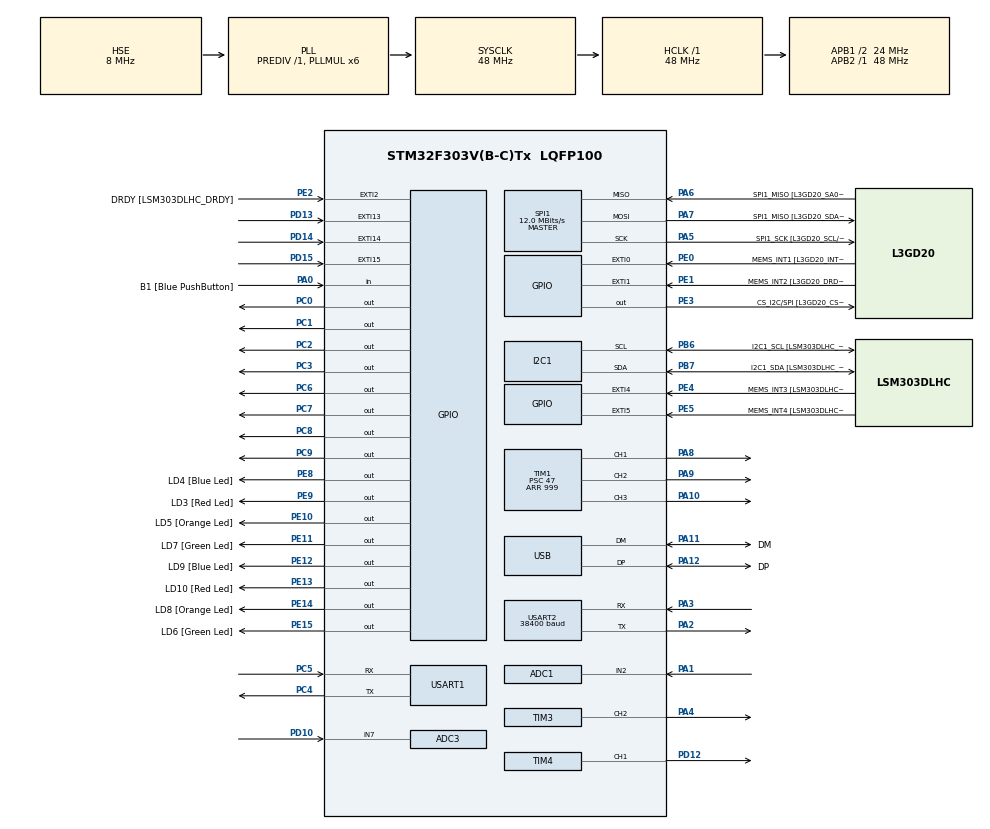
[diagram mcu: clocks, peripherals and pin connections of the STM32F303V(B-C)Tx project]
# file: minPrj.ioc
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ADC1.Channel-1\#ChannelRegularConversion=ADC_CHANNEL_2
ADC1.NbrOfConversionFlag=1
ADC1.Offset-1\#ChannelRegularConversion=0
ADC1.OffsetNumber-1\#ChannelRegularConversion=ADC_OFFSET_NONE
ADC1.Rank-1\#ChannelRegularConversion=1
ADC1.Resolution=ADC_RESOLUTION_6B
ADC1.SamplingTime-1\#ChannelRegularConversion=ADC_SAMPLETIME_1CYCLE_5
ADC1.SamplingTimeOPAMP-1\#ChannelRegularConversion=ADC_SAMPLETIME_19CYCLES_5
ADC1.master=1
ADC3.Channel-1\#ChannelRegularConversion=ADC_CHANNEL_7
ADC3.NbrOfConversionFlag=1
ADC3.Offset-1\#ChannelRegularConversion=0
ADC3.OffsetNumber-1\#ChannelRegularConversion=ADC_OFFSET_NONE
ADC3.Rank-1\#ChannelRegularConversion=1
ADC3.Resolution=ADC_RESOLUTION_10B
ADC3.SamplingTime-1\#ChannelRegularConversion=ADC_SAMPLETIME_1CYCLE_5
ADC3.SamplingTimeOPAMP-1\#ChannelRegularConversion=ADC_SAMPLETIME_19CYCLES_5
ADC3.master=1
I2C1.Timing-I2C=0x2000090E
Mcu.Family=STM32F3
Mcu.Name=STM32F303V(B-C)Tx
Mcu.Package=LQFP100
NVIC.ADC1_2_IRQn=true\:1\:0\:true\:false\:true\:true\:true\:true
NVIC.ADC3_IRQn=true\:1\:0\:true\:false\:true\:true\:true\:true
NVIC.EXTI15_10_IRQn=true\:0\:0\:false\:false\:true\:true\:true\:true
NVIC.PriorityGroup=NVIC_PRIORITYGROUP_1
NVIC.TIM2_IRQn=true\:0\:0\:false\:false\:true\:true\:true\:true
NVIC.TIM3_IRQn=true\:0\:0\:false\:false\:true\:true\:true\:true
NVIC.TIM4_IRQn=true\:0\:0\:false\:false\:true\:true\:true\:true
NVIC.USART1_IRQn=true\:0\:0\:false\:false\:true\:true\:true\:true
NVIC.USART2_IRQn=true\:0\:0\:false\:false\:true\:true\:true\:true
PA0.GPIO_Label=B1 [Blue PushButton]
PA0.Signal=GPIO_Input
PA1.Mode=IN2-Single-Ended
PA1.Signal=ADC1_IN2
PA10.Signal=S_TIM1_CH3
PA11.GPIO_Label=DM
PA11.Mode=Device
PA11.Signal=USB_DM
PA12.GPIO_Label=DP
PA12.Mode=Device
PA12.Signal=USB_DP
PA13.GPIO_Label=SWDIO
PA13.Mode=Serial_Wire
PA13.Signal=SYS_JTMS-SWDIO
PA14.GPIO_Label=SWCLK
PA14.Mode=Serial_Wire
PA14.Signal=SYS_JTCK-SWCLK
PA2.Mode=Asynchronous
PA2.Signal=USART2_TX
PA3.Mode=Asynchronous
PA3.Signal=USART2_RX
PA4.Signal=S_TIM3_CH2
PA5.GPIO_Label=SPI1_SCK [L3GD20_SCL/SPC]
PA5.Mode=Full_Duplex_Master
PA5.Signal=SPI1_SCK
PA6.GPIO_Label=SPI1_MISO [L3GD20_SA0/SDO]
PA6.Mode=Full_Duplex_Master
PA6.Signal=SPI1_MISO
PA7.GPIO_Label=SPI1_MISO [L3GD20_SDA/SDI/SDO]
PA7.Mode=Full_Duplex_Master
PA7.Signal=SPI1_MOSI
PA8.Signal=S_TIM1_CH1
PA9.Signal=S_TIM1_CH2
PB3.GPIO_Label=SWO
PB3.Signal=SYS_JTDO-TRACESWO
PB6.GPIO_Label=I2C1_SCL [LSM303DLHC_SCL]
PB6.GPIO_Pu=GPIO_PULLUP
PB6.Mode=I2C
PB6.Signal=I2C1_SCL
PB7.GPIO_Label=I2C1_SDA [LSM303DLHC_SDA]
PB7.GPIO_Pu=GPIO_PULLUP
PB7.Mode=I2C
PB7.Signal=I2C1_SDA
PC0.Signal=GPIO_Output
PC1.Signal=GPIO_Output
PC14-OSC32_IN.GPIO_Label=OSC32_IN
PC14-OSC32_IN.Signal=RCC_OSC32_IN
PC15-OSC32_OUT.GPIO_Label=OSC32_OUT
PC15-OSC32_OUT.Signal=RCC_OSC32_OUT
PC2.Signal=GPIO_Output
PC3.Signal=GPIO_Output
PC4.Mode=Asynchronous
PC4.Signal=USART1_TX
PC5.Mode=Asynchronous
PC5.Signal=USART1_RX
PC6.Signal=GPIO_Output
PC7.Signal=GPIO_Output
PC8.Signal=GPIO_Output
PC9.Signal=GPIO_Output
PD10.Signal=ADCx_IN7P
PD12.Signal=S_TIM4_CH1
PD13.GPIO_ModeDefaultEXTI=GPIO_MODE_IT_FALLING
PD13.GPIO_PuPd=GPIO_PULLUP
PD13.Signal=GPXTI13
PD14.GPIO_ModeDefaultEXTI=GPIO_MODE_IT_FALLING
PD14.GPIO_PuPd=GPIO_PULLUP
PD14.Signal=GPXTI14
PD15.GPIO_ModeDefaultEXTI=GPIO_MODE_IT_FALLING
PD15.GPIO_PuPd=GPIO_PULLUP
PD15.Signal=GPXTI15
PE0.GPIO_Label=MEMS_INT1 [L3GD20_INT1]
PE0.GPIO_ModeDefaultEXTI=GPIO_MODE_EVT_RISING
PE0.Signal=GPXTI0
PE1.GPIO_Label=MEMS_INT2 [L3GD20_DRDY/INT2]
PE1.GPIO_ModeDefaultEXTI=GPIO_MODE_EVT_RISING
PE1.Signal=GPXTI1
PE10.GPIO_Label=LD5 [Orange Led]
PE10.Signal=GPIO_Output
PE11.GPIO_Label=LD7 [Green Led]
PE11.Signal=GPIO_Output
PE12.GPIO_Label=LD9 [Blue Led]
PE12.Signal=GPIO_Output
PE13.GPIO_Label=LD10 [Red Led]
PE13.Signal=GPIO_Output
PE14.GPIO_Label=LD8 [Orange Led]
PE14.Signal=GPIO_Output
PE15.GPIO_Label=LD6 [Green Led]
PE15.Signal=GPIO_Output
PE2.GPIO_Label=DRDY [LSM303DLHC_DRDY]
PE2.GPIO_ModeDefaultEXTI=GPIO_MODE_EVT_RISING
PE2.Signal=GPXTI2
PE3.GPIO_Label=CS_I2C/SPI [L3GD20_CS_I2C/SPI]
PE3.Signal=GPIO_Output
PE4.GPIO_Label=MEMS_INT3 [LSM303DLHC_INT1]
PE4.GPIO_ModeDefaultEXTI=GPIO_MODE_EVT_RISING
PE4.Signal=GPXTI4
PE5.GPIO_Label=MEMS_INT4 [LSM303DLHC_INT2]
PE5.GPIO_ModeDefaultEXTI=GPIO_MODE_EVT_RISING
PE5.Signal=GPXTI5
PE8.GPIO_Label=LD4 [Blue Led]
PE8.Signal=GPIO_Output
PE9.GPIO_Label=LD3 [Red Led]
PE9.Signal=GPIO_Output
PF0-OSC_IN.GPIO_Label=OSC_IN
PF0-OSC_IN.Mode=HSE-External-Clock-Source
PF0-OSC_IN.Signal=RCC_OSC_IN
PF1-OSC_OUT.GPIO_Label=OSC_OUT
PF1-OSC_OUT.Signal=RCC_OSC_OUT
ProjectManager.HeapSize=0x200
ProjectManager.StackSize=0x400
ProjectManager.TargetToolchain=STM32CubeIDE
RCC.AHBFreq_Value=48000000
RCC.APB1CLKDivider=RCC_HCLK_DIV2
RCC.APB1Freq_Value=24000000
RCC.APB1TimFreq_Value=48000000
RCC.APB2Freq_Value=48000000
RCC.APB2TimFreq_Value=48000000
RCC.CortexFreq_Value=48000000
RCC.HCLKFreq_Value=48000000
RCC.HSE_VALUE=8000000
RCC.HSI_VALUE=8000000
RCC.LSE_VALUE=32768
RCC.PLLMUL=RCC_PLL_MUL6
RCC.SYSCLKFreq_VALUE=48000000
RCC.SYSCLKSourceVirtual=RCC_SYSCLKSOURCE_PLLCLK
RCC.USBFreq_Value=48000000
RTC.AsynchPrediv=39
RTC.Format=RTC_FORMAT_BIN
RTC.SynchPrediv=999
SH.ADCx_IN7P.0=ADC3_IN7,IN7-Single-Ended
SH.S_TIM1_CH1.0=TIM1_CH1,PWM Generation1 CH1
SH.S_TIM1_CH2.0=TIM1_CH2,PWM Generation2 CH2
SH.S_TIM1_CH3.0=TIM1_CH3,PWM Generation3 CH3
SH.S_TIM3_CH2.0=TIM3_CH2,PWM Generation2 CH2
SH.S_TIM4_CH1.0=TIM4_CH1,PWM Generation1 CH1
SPI1.BaudRatePrescaler=SPI_BAUDRATEPRESCALER_4
SPI1.BaudRatePrescaler-Full_Duplex_Master=SPI_BAUDRATEPRESCALER_2
SPI1.CalculateBaudRate=12.0 MBits/s
SPI1.CalculateBaudRate-Full_Duplex_Master=24.0 MBits/s
SPI1.Direction=SPI_DIRECTION_2LINES
SPI1.Mode=SPI_MODE_MASTER
SPI1.Mode-Full_Duplex_Master=SPI_MODE_MASTER
SPI1.VirtualType=VM_MASTER
TIM1.Channel-PWM\ Generation1\ CH1=TIM_CHANNEL_1
TIM1.Channel-PWM\ Generation2\ CH2=TIM_CHANNEL_2
TIM1.Channel-PWM\ Generation3\ CH3=TIM_CHANNEL_3
TIM1.Period=999
TIM1.Prescaler=47
TIM2.Period=10000-1
TIM2.Prescaler=2400-1
TIM3.Channel-PWM\ Generation2\ CH2=TIM_CHANNEL_2
TIM4.Channel-PWM\ Generation1\ CH1=TIM_CHANNEL_1
TIM4.Period=999
TIM4.Prescaler=47
USART1.VirtualMode-Asynchronous=VM_ASYNC
USART2.BaudRate=38400
USART2.VirtualMode-Asynchronous=VM_ASYNC
VP_RTC_VS_RTC_Activate.Mode=RTC_Enabled
VP_RTC_VS_RTC_Calendar.Mode=RTC_Calendar
VP_TIM1_VS_ClockSourceINT.Mode=Internal
VP_TIM2_VS_ClockSourceINT.Mode=Internal
VP_TIM3_VS_ClockSourceINT.Mode=Internal
VP_TIM4_VS_ClockSourceINT.Mode=Internal
board=STM32F3DISCOVERY

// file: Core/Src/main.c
/* USER CODE BEGIN Header */
/**
 ******************************************************************************
 * @file           : main.c
 * @brief          : Main program body
 ******************************************************************************
 * @attention
 *
 * Copyright (c) 2023 STMicroelectronics.
 * All rights reserved.
 *
 * This software is licensed under terms that can be found in the LICENSE file
 * in the root directory of this software component.
 * If no LICENSE file comes with this software, it is provided AS-IS.
 *
 ******************************************************************************
 */
/* USER CODE END Header */
#include "main.h"

/* USER CODE BEGIN Includes */

int Debuns = 0;
int select = 0;
int sin_index = 0;
int ten_mili_second = 0;
int flag = 0;
int threshold = 0;
int buffer_index = 0;
int base_sense = 0, current_sense = 0;
int warncount = 0, uart_flag = 1, is_critical = 0, counter = 0, time_flag = 1;
uint8_t dim, light, buzzer, input[15], rx_byte;
char timeFormat[8];
char second[2] = { '0', '0' };
char minute[2] = { '0', '0' };
char hours[2] = { '0', '0' };
int ss = 0, mm = 0, hh = 0;

static const uint16_t sine_table[50] = { 200, 214, 225, 234, 240, 242, 242, 240,
		234, 225, 214, 200, 184, 173, 164, 158, 156, 156, 158, 164, 173, 184,
		200, 216, 227, 236, 241, 242, 242, 241, 236, 227, 216, 200, 185, 174,
		165, 159, 157, 157, 159, 165, 174, 185, 200, 215, 226, 235, 240, 242,
		242 };

static const uint16_t square[4] = { 400, 400, 0, 0 };

static const uint16_t triangle[11] = { 0, 50, 100, 150, 200, 250, 300, 350, 400,
		0, 0 };
typedef struct {
	GPIO_TypeDef *port;
	uint16_t pin;
} pin_type;

typedef struct {
	pin_type digit_activators[4];
	pin_type BCD_input[4];
	uint32_t digits[4];
	uint32_t number;
} seven_segment_type;

seven_segment_type seven_segment = { .digit_activators = { { .port = GPIOC,
		.pin = GPIO_PIN_3 }, { .port = GPIOC, .pin = GPIO_PIN_2 }, { .port =
GPIOC, .pin = GPIO_PIN_1 }, { .port = GPIOC, .pin = GPIO_PIN_0 } }, .BCD_input =
		{ { .port = GPIOC, .pin = GPIO_PIN_6 }, { .port = GPIOC, .pin =
		GPIO_PIN_7 }, { .port = GPIOC, .pin = GPIO_PIN_8 }, { .port =
		GPIOC, .pin = GPIO_PIN_9 } }, .digits = { 0, 0, 0, 0 }, .number = 0 };

void seven_segment_display_decimal(uint32_t n) {
	if (n < 10) {
		HAL_GPIO_WritePin(seven_segment.BCD_input[0].port,
				seven_segment.BCD_input[0].pin,
				(n & 1) ? GPIO_PIN_SET : GPIO_PIN_RESET);
		HAL_GPIO_WritePin(seven_segment.BCD_input[1].port,
				seven_segment.BCD_input[1].pin,
				(n & 2) ? GPIO_PIN_SET : GPIO_PIN_RESET);
		HAL_GPIO_WritePin(seven_segment.BCD_input[2].port,
				seven_segment.BCD_input[2].pin,
				(n & 4) ? GPIO_PIN_SET : GPIO_PIN_RESET);
		HAL_GPIO_WritePin(seven_segment.BCD_input[3].port,
				seven_segment.BCD_input[3].pin,
				(n & 8) ? GPIO_PIN_SET : GPIO_PIN_RESET);
	}
}

void seven_segment_deactivate_digits(void) {
	for (int i = 0; i < 4; ++i) {
		HAL_GPIO_WritePin(seven_segment.digit_activators[i].port,
				seven_segment.digit_activators[i].pin, GPIO_PIN_RESET);
	}
}

void seven_segment_activate_digit(uint32_t d) {
	if (d < 4) {
		HAL_GPIO_WritePin(seven_segment.digit_activators[d].port,
				seven_segment.digit_activators[d].pin, GPIO_PIN_SET);
	}
}

void seven_segment_set_num(uint32_t n) {

	seven_segment.number = n;
	for (uint32_t i = 0; i < 4; ++i) {
		seven_segment.digits[3 - i] = n % 10;
		n /= 10;
	}
}

void seven_segment_refresh(void) {
	static uint32_t state = 0;
	static uint32_t last_time = 0;
	static uint32_t second_time = 0;
	static int integer = 0;

	if (HAL_GetTick() - last_time > 4) {

		seven_segment_display_decimal(seven_segment.digits[state]);
		seven_segment_deactivate_digits();

		if (current_sense < threshold) {
			if (select == state) {
				if (integer == 0) {
					HAL_GPIO_WritePin(
							seven_segment.digit_activators[select].port,
							seven_segment.digit_activators[select].pin, 1);
					seven_segment_activate_digit(state);
				}
				if (HAL_GetTick() - second_time > 500) {
					integer = !integer;
					second_time = HAL_GetTick();
				}
			} else {
				seven_segment_activate_digit(state);
			}
		} else {
			if (integer == 0) {
				HAL_GPIO_WritePin(seven_segment.digit_activators[select].port,
						seven_segment.digit_activators[select].pin, 1);
				seven_segment_activate_digit(state);
			}
			if (HAL_GetTick() - second_time > 500) {
				integer = !integer;
				second_time = HAL_GetTick();
			}
		}

		seven_segment_display_decimal(seven_segment.digits[state]);
		state = (state + 1) % 4;
		last_time = HAL_GetTick();

	}

}

//void seven_segment_refresh(void) {
//	static uint32_t state = 0;
//	static uint32_t last_time = 0;
//	static uint32_t second_time = 0;
//	static int integer = 0;
//
//	if (HAL_GetTick() - last_time > 4) {
//
//		seven_segment_display_decimal(seven_segment.digits[state]);
//		seven_segment_deactivate_digits();
//
//		if (select == state) {
//			if (integer == 0) {
//				HAL_GPIO_WritePin(seven_segment.digit_activators[select].port,
//						seven_segment.digit_activators[select].pin, 1);
////				if (current_sense < threshold)
//				seven_segment_activate_digit(state);
//			}
//			if (HAL_GetTick() - second_time > 500) {
//				integer = !integer;
//				second_time = HAL_GetTick();
//			}
//		} else {
//			seven_segment_activate_digit(state);
//		}
//
//		seven_segment_display_decimal(seven_segment.digits[state]);
//		state = (state + 1) % 4;
//		last_time = HAL_GetTick();
//
//	}
//
//}

void seven_refresh() {
	static uint32_t second_time = 0;
	static int on = 0;
	if (HAL_GetTick() - second_time > 500 && !on) {
		second_time = HAL_GetTick();
		seven_segment_refresh();
		on = 1;
	} else if (HAL_GetTick() - second_time > 500 && on) {
		second_time = HAL_GetTick();
		seven_segment_deactivate_digits();
		on = 0;
	}
}

void programInit() {

	seven_segment_set_num(0);

}

void programLoop() {
	seven_segment_refresh();
}

/* USER CODE END Includes */

ADC_HandleTypeDef hadc1;
ADC_HandleTypeDef hadc3;

I2C_HandleTypeDef hi2c1;

RTC_HandleTypeDef hrtc;

SPI_HandleTypeDef hspi1;

TIM_HandleTypeDef htim1;
TIM_HandleTypeDef htim2;
TIM_HandleTypeDef htim3;
TIM_HandleTypeDef htim4;

UART_HandleTypeDef huart1;
UART_HandleTypeDef huart2;

PCD_HandleTypeDef hpcd_USB_FS;

/* USER CODE BEGIN PV */

TIM_HandleTypeDef *pwm_timer = &htim3;
uint32_t pwm_channel = TIM_CHANNEL_2;

void PWM_Start() {
	HAL_TIM_PWM_Start(pwm_timer, pwm_channel);
}

void PWM_Change_Tone(uint16_t pwm_freq, uint16_t volume) {
	if (pwm_freq == 0 || pwm_freq > 20000) {
		__HAL_TIM_SET_COMPARE(pwm_timer, pwm_channel, 0);
	} else {
		const uint32_t internal_clock_freq = HAL_RCC_GetSysClockFreq();
		const uint16_t prescaler = 1 + internal_clock_freq / pwm_freq / 60000;
		const uint32_t timer_clock = internal_clock_freq / prescaler;
		const uint32_t period_cycles = timer_clock / pwm_freq;
		const uint32_t pulse_width = volume * period_cycles / 1000 / 2;

		pwm_timer->Instance->PSC = prescaler - 1;
		pwm_timer->Instance->ARR = period_cycles - 1;
		pwm_timer->Instance->EGR = TIM_EGR_UG;
		__HAL_TIM_SET_COMPARE(pwm_timer, pwm_channel, pulse_width);
	}
}

/* USER CODE END PV */

void SystemClock_Config(void);
static void MX_GPIO_Init(void);
static void MX_I2C1_Init(void);
static void MX_SPI1_Init(void);
static void MX_USB_PCD_Init(void);
static void MX_TIM1_Init(void);
static void MX_TIM2_Init(void);
static void MX_TIM3_Init(void);
static void MX_TIM4_Init(void);
static void MX_USART1_UART_Init(void);
static void MX_ADC1_Init(void);
static void MX_ADC3_Init(void);
static void MX_RTC_Init(void);
static void MX_USART2_UART_Init(void);

/* USER CODE BEGIN 0 */

RTC_TimeTypeDef myTime;
RTC_DateTypeDef myDate;
char timeStr[20];
void TurnOnLed() {
	HAL_GPIO_WritePin(GPIOE, GPIO_PIN_8, 1);
	HAL_GPIO_WritePin(GPIOE, GPIO_PIN_9, 1);
	HAL_GPIO_WritePin(GPIOE, GPIO_PIN_10, 1);
	HAL_GPIO_WritePin(GPIOE, GPIO_PIN_11, 1);
	HAL_GPIO_WritePin(GPIOE, GPIO_PIN_12, 1);
	HAL_GPIO_WritePin(GPIOE, GPIO_PIN_13, 1);
	HAL_GPIO_WritePin(GPIOE, GPIO_PIN_14, 1);
	HAL_GPIO_WritePin(GPIOE, GPIO_PIN_15, 1);
}
void TurnOffLed() {
	HAL_GPIO_WritePin(GPIOE, GPIO_PIN_8, 0);
	HAL_GPIO_WritePin(GPIOE, GPIO_PIN_9, 0);
	HAL_GPIO_WritePin(GPIOE, GPIO_PIN_10, 0);
	HAL_GPIO_WritePin(GPIOE, GPIO_PIN_11, 0);
	HAL_GPIO_WritePin(GPIOE, GPIO_PIN_12, 0);
	HAL_GPIO_WritePin(GPIOE, GPIO_PIN_13, 0);
	HAL_GPIO_WritePin(GPIOE, GPIO_PIN_14, 0);
	HAL_GPIO_WritePin(GPIOE, GPIO_PIN_15, 0);
}

void printTime() {
	int size = sprintf(timeStr, "%2d:%2d:%2d\n", myTime.Hours, myTime.Minutes,
			myTime.Seconds);
	HAL_UART_Transmit(&huart1, timeStr, size, 1000);
}

void checkwarn() {

	if (current_sense >= threshold) {
		if (is_critical == 0) {
			is_critical = 1;
			warncount++;
		}
		//warncount++;
		TurnOffLed();
		seven_segment_set_num(current_sense);
		if (counter % 2 == 0) {

		}
//			seven_segment_set_num(0);
//		seven_refresh();
		is_critical = 1;
	} else {
		is_critical = 0;
		seven_segment.digits[0] = dim;
		seven_segment.digits[1] = light;
		seven_segment.digits[2] = buzzer;
		seven_segment.digits[3] = warncount;
	}

//	if (flag2 == 1 && current_sense * 20 < threshold + base_sense) {
//
//	}

}

void HAL_GPIO_EXTI_Callback(uint16_t GPIO_Pin) {
	if (GPIO_Pin == GPIO_PIN_13 && HAL_GetTick() - Debuns > 300) {
		if (flag) {
			Debuns = HAL_GetTick();
			select = (select + 1) % 3;

		} else {
			TurnOffLed();
			flag = !flag;
			threshold = threshold + base_sense;
			programInit();
		}

	} else if (GPIO_Pin == GPIO_PIN_14 && HAL_GetTick() - Debuns > 300) {
		Debuns = HAL_GetTick();
		if (select == 0) {
			seven_segment.digits[select] = (seven_segment.digits[select] + 1)
					% 10;
			dim = seven_segment.digits[select];

			if (seven_segment.digits[select] != 0) {
				HAL_UART_Transmit(&huart1, "\n[INFO] DimStep increased\n", 26,
				HAL_MAX_DELAY);
				HAL_UART_Transmit(&huart2, "\n[INFO] DimStep increased\n", 26,
				HAL_MAX_DELAY);
			} else {
				HAL_UART_Transmit(&huart1, "\n[INFO] DimStep Decreased\n", 26,
				HAL_MAX_DELAY);
				HAL_UART_Transmit(&huart2, "\n[INFO] DimStep Decreased\n", 26,
				HAL_MAX_DELAY);
			}
		} else if (select == 1) {
			seven_segment.digits[select] = (seven_segment.digits[select] + 1)
					% 5;
			light = seven_segment.digits[select];
			if (seven_segment.digits[select] != 0) {
				HAL_UART_Transmit(&huart1, "\n[INFO] LIGHTS increased\n", 25,
				HAL_MAX_DELAY);
				HAL_UART_Transmit(&huart2, "\n[INFO] LIGHTS increased\n", 25,
				HAL_MAX_DELAY);
			} else {
				HAL_UART_Transmit(&huart1, "\n[INFO] LIGHTS Decreased\n", 25,
				HAL_MAX_DELAY);
				HAL_UART_Transmit(&huart2, "\n[INFO] LIGHTS Decreased\n", 25,
				HAL_MAX_DELAY);
			}

		} else {
			seven_segment.digits[select] = (seven_segment.digits[select] + 1)
					% 4;
			buzzer = seven_segment.digits[select];
			if (seven_segment.digits[select] != 0) {
				HAL_UART_Transmit(&huart1, "\n[INFO] WAVE increased\n", 23,
				HAL_MAX_DELAY);
				HAL_UART_Transmit(&huart2, "\n[INFO] WAVE increased\n", 23,
				HAL_MAX_DELAY);
			} else {
				HAL_UART_Transmit(&huart1, "\n[INFO] WAVE Decreased\n", 23,
				HAL_MAX_DELAY);
				HAL_UART_Transmit(&huart2, "\n[INFO] WAVE Decreased\n", 23,
				HAL_MAX_DELAY);
			}
		}
		printTime();
	} else if (GPIO_Pin == GPIO_PIN_15 && HAL_GetTick() - Debuns > 300) {
		Debuns = HAL_GetTick();
		int k = seven_segment.digits[select] - 1;
		if (select == 1) {
			if (k < 0) {
				seven_segment.digits[select] = 4;
				light = seven_segment.digits[select];
				HAL_UART_Transmit(&huart1, "\n[INFO] LIGHT INCREASED \n", 25,
				HAL_MAX_DELAY);
				HAL_UART_Transmit(&huart2, "\n[INFO] LIGHT INCREASED \n", 25,
				HAL_MAX_DELAY);
			} else {
				seven_segment.digits[select] = k;
				light = seven_segment.digits[select];
				HAL_UART_Transmit(&huart1, "\n[INFO] LIGHT Decreased \n", 25,
				HAL_MAX_DELAY);
				HAL_UART_Transmit(&huart2, "\n[INFO] LIGHT Decreased \n", 25,
				HAL_MAX_DELAY);
			}

		} else if (select == 2) {
			if (k < 0) {
				seven_segment.digits[select] = 3;
				buzzer = seven_segment.digits[select];
				HAL_UART_Transmit(&huart1, "\n[INFO] WAVE INCREASED \n", 25,
				HAL_MAX_DELAY);
				HAL_UART_Transmit(&huart2, "\n[INFO] WAVE INCREASED \n", 25,
				HAL_MAX_DELAY);
			} else {
				seven_segment.digits[select] = k;
				buzzer = seven_segment.digits[select];
				HAL_UART_Transmit(&huart1, "\n[INFO] WAVE Decreased \n", 25,
				HAL_MAX_DELAY);
				HAL_UART_Transmit(&huart2, "\n[INFO] WAVE Decreased \n", 25,
				HAL_MAX_DELAY);
			}
		} else {
			if (k < 0) {
				seven_segment.digits[select] = 9;
				dim = seven_segment.digits[select];
				HAL_UART_Transmit(&huart1, "\n[INFO] DIMSTEP INCREASED \n", 25,
				HAL_MAX_DELAY);
				HAL_UART_Transmit(&huart2, "\n[INFO] DIMSTEP INCREASED \n", 25,
				HAL_MAX_DELAY);
			} else {
				seven_segment.digits[select] = k;
				dim = seven_segment.digits[select];
				HAL_UART_Transmit(&huart1, "\n[INFO] DIMSTEP Decreased \n", 25,
				HAL_MAX_DELAY);
				HAL_UART_Transmit(&huart2, "\n[INFO] DIMSTEP Decreased \n", 25,
				HAL_MAX_DELAY);
			}
		}
		printTime();
	}

}

void uart_rx_enable_it(void) {
	HAL_UART_Receive_IT(&huart1, &rx_byte, 1);
}

void HAL_UART_RxCpltCallback(UART_HandleTypeDef *huart) {
	if (huart->Instance == USART1) {

		input[buffer_index++] = rx_byte;
		HAL_UART_Receive_IT(&huart1, &rx_byte, 1);

		if (rx_byte == '\n') {

			if (time_flag) {
				HAL_GPIO_TogglePin(GPIOE, GPIO_PIN_13);
				HAL_RTC_GetTime(&hrtc, &myTime, RTC_FORMAT_BIN);
				hours[0] = input[0];
				hours[1] = input[1];

				minute[0] = input[3];
				minute[1] = input[4];

				second[0] = input[6];
				second[1] = input[7];

				for (int i = 0; i < 8; i++)
					timeFormat[i] = input[i];
				HAL_UART_Transmit(&huart1, input, 10, HAL_MAX_DELAY);

//				myTime.Hours = atoi(hours);
				myTime.Hours = (hours[0] - '0') * 10 + (hours[1] - '0');
//				myTime.Minutes = atoi(minute);
				myTime.Minutes = (minute[0] - '0') * 10 + (minute[1] - '0');
//				myTime.Seconds = atoi(second);
				myTime.Seconds = (second[0] - '0') * 10 + (second[1] - '0');

				HAL_RTC_SetTime(&hrtc, &myTime, RTC_FORMAT_BIN);
				if (input[2] == ':')
					time_flag = 0;

			}

//			if (time_flag == 0)
//				HAL_UART_Transmit(&huart1, input, 10, HAL_MAX_DELAY);

			buffer_index = 0;
			if (strncmp(input, "[DIMSTEP]:", 10) == 0) {
				if (input[10] - 48 >= 0 && input[10] - 48 <= 9) {
					dim = input[10] - 48;
					if (seven_segment.digits[0] > input[10] - 48) {
						int differ = seven_segment.digits[0] - (input[10] - 48);
						char message[60];
						sprintf((char*) message, "\nDimStep Deceased : {%d}\n",
								differ);
						HAL_UART_Transmit(&huart1, (uint8_t*) message,
								strlen((char*) message),
								HAL_MAX_DELAY);
						HAL_UART_Transmit(&huart2, (uint8_t*) message,
								strlen((char*) message),
								HAL_MAX_DELAY);
						seven_segment.digits[0] = input[10] - 48;

					} else if (seven_segment.digits[0] < input[10] - 48) {
						int differ = (input[10] - 48) - seven_segment.digits[0];
						char message[60];
						sprintf((char*) message, "\nDimStep Increased : {%d}\n",
								differ);
						HAL_UART_Transmit(&huart1, (uint8_t*) message,
								strlen((char*) message),
								HAL_MAX_DELAY);
						HAL_UART_Transmit(&huart2, (uint8_t*) message,
								strlen((char*) message),
								HAL_MAX_DELAY);
						seven_segment.digits[0] = input[10] - 48;
					}
				} else {
					HAL_UART_Transmit(&huart1, "\nOut of range!\n", 15,
					HAL_MAX_DELAY);
					HAL_UART_Transmit(&huart2, "\nOut of range!\n", 15,
					HAL_MAX_DELAY);
				}

			} else if (strncmp(input, "[LIGHTS]:", 9) == 0) {
				if (input[9] - 48 >= 0 && input[9] - 48 <= 4) {
					light = input[9] - 48;
					if (seven_segment.digits[1] > input[9] - 48) {
						int differ = seven_segment.digits[1] - (input[9] - 48);
						char message[60];
						sprintf((char*) message, "\nLights Deceased : {%d}\n",
								differ);
						HAL_UART_Transmit(&huart1, (uint8_t*) message,
								strlen((char*) message),
								HAL_MAX_DELAY);
						HAL_UART_Transmit(&huart2, (uint8_t*) message,
								strlen((char*) message),
								HAL_MAX_DELAY);
						seven_segment.digits[1] = input[9] - 48;

					} else if (seven_segment.digits[1] < input[9] - 48) {
						int differ = (input[9] - 48) - seven_segment.digits[1];
						char message[60];
						sprintf((char*) message, "\nLights Increased : {%d}\n",
								differ);
						HAL_UART_Transmit(&huart1, (uint8_t*) message,
								strlen((char*) message),
								HAL_MAX_DELAY);
						HAL_UART_Transmit(&huart2, (uint8_t*) message,
								strlen((char*) message),
								HAL_MAX_DELAY);
						seven_segment.digits[1] = input[9] - 48;
					}
				} else {
					HAL_UART_Transmit(&huart1, "\nOut of range!\n", 15,
					HAL_MAX_DELAY);
					HAL_UART_Transmit(&huart2, "\nOut of range!\n", 15,
					HAL_MAX_DELAY);
				}

			} else if (strncmp(input, "[WARNNUM]:", 10) == 0) {
				if (input[10] - 48 >= 0 && input[10] - 48 <= 3) {
					buzzer = input[10] - 48;
					if (seven_segment.digits[2] > input[10] - 48) {
						int differ = seven_segment.digits[2] - (input[10] - 48);
						char message[60];
						sprintf((char*) message, "\nWarnNum Deceased : {%d}\n",
								differ);
						HAL_UART_Transmit(&huart1, (uint8_t*) message,
								strlen((char*) message),
								HAL_MAX_DELAY);
						HAL_UART_Transmit(&huart2, (uint8_t*) message,
								strlen((char*) message),
								HAL_MAX_DELAY);
						seven_segment.digits[2] = input[10] - 48;

					} else if (seven_segment.digits[2] < input[10] - 48) {
						int differ = (input[10] - 48) - seven_segment.digits[2];
						char message[60];
						sprintf((char*) message, "\nWarnNum Increased : {%d}\n",
								differ);
						HAL_UART_Transmit(&huart1, (uint8_t*) message,
								strlen((char*) message),
								HAL_MAX_DELAY);
						HAL_UART_Transmit(&huart2, (uint8_t*) message,
								strlen((char*) message),
								HAL_MAX_DELAY);
						seven_segment.digits[2] = input[10] - 48;
					}
				} else {
					HAL_UART_Transmit(&huart1, "\nOut of range!\n", 15,
					HAL_MAX_DELAY);
					HAL_UART_Transmit(&huart2, "\nOut of range!\n", 15,
					HAL_MAX_DELAY);
				}

			} else {
				HAL_UART_Transmit(&huart1,
						"\n[ERR] Not valid Value – When working with UART\n",
						48,
						HAL_MAX_DELAY);
				HAL_UART_Transmit(&huart2,
						"\n[ERR] Not valid Value – When working with UART\n",
						48,
						HAL_MAX_DELAY);
			}
			printTime();
		}

	}
}

void HAL_TIM_PeriodElapsedCallback(TIM_HandleTypeDef *htim) {
	if (htim->Instance == TIM2) {

		HAL_ADC_Start_IT(&hadc1);
		HAL_ADC_Start_IT(&hadc3);
		counter++;
		if (flag) {

			if (buzzer == 1 && is_critical) {
				sin_index = (sin_index + 1) % 50;
				PWM_Change_Tone(sine_table[sin_index], 50);
			} else if (buzzer == 2 && is_critical) {
				sin_index = (sin_index + 1) % 4;
				PWM_Change_Tone(square[sin_index], 50);
			} else if (buzzer == 3 && is_critical) {
				sin_index = (sin_index + 1) % 11;
				PWM_Change_Tone(triangle[sin_index], 50);
			} else {
				PWM_Change_Tone(0, 10);
			}

			int intensity = 100 * seven_segment.digits[0]
					+ ten_mili_second * 10;

			if (seven_segment.digits[1] == 1) {
				__HAL_TIM_SET_COMPARE(&htim1, TIM_CHANNEL_1, intensity);
				__HAL_TIM_SET_COMPARE(&htim1, TIM_CHANNEL_2, 0);
				__HAL_TIM_SET_COMPARE(&htim1, TIM_CHANNEL_3, 0);
				__HAL_TIM_SET_COMPARE(&htim4, TIM_CHANNEL_1, 0);
			} else if (seven_segment.digits[1] == 2) {
				__HAL_TIM_SET_COMPARE(&htim1, TIM_CHANNEL_1, intensity);
				__HAL_TIM_SET_COMPARE(&htim1, TIM_CHANNEL_2, intensity);
				__HAL_TIM_SET_COMPARE(&htim1, TIM_CHANNEL_3, 0);
				__HAL_TIM_SET_COMPARE(&htim4, TIM_CHANNEL_1, 0);
			} else if (seven_segment.digits[1] == 3) {
				__HAL_TIM_SET_COMPARE(&htim1, TIM_CHANNEL_1, intensity);
				__HAL_TIM_SET_COMPARE(&htim1, TIM_CHANNEL_2, intensity);
				__HAL_TIM_SET_COMPARE(&htim1, TIM_CHANNEL_3, intensity);
				__HAL_TIM_SET_COMPARE(&htim4, TIM_CHANNEL_1, 0);
			} else if (seven_segment.digits[1] == 4) {
				__HAL_TIM_SET_COMPARE(&htim1, TIM_CHANNEL_1, intensity);
				__HAL_TIM_SET_COMPARE(&htim1, TIM_CHANNEL_2, intensity);
				__HAL_TIM_SET_COMPARE(&htim1, TIM_CHANNEL_3, intensity);
				__HAL_TIM_SET_COMPARE(&htim4, TIM_CHANNEL_1, intensity);
			} else {
				__HAL_TIM_SET_COMPARE(&htim1, TIM_CHANNEL_1, 0);
				__HAL_TIM_SET_COMPARE(&htim1, TIM_CHANNEL_2, 0);
				__HAL_TIM_SET_COMPARE(&htim1, TIM_CHANNEL_3, 0);
				__HAL_TIM_SET_COMPARE(&htim4, TIM_CHANNEL_1, 0);
			}
		}

	}
}

void HAL_ADC_ConvCpltCallback(ADC_HandleTypeDef *hadc) {
	if (hadc->Instance == ADC1) {

		ten_mili_second = HAL_ADC_GetValue(&hadc1);

		if (!flag) {
			threshold = 20 * ten_mili_second;
			seven_segment_set_num(threshold + base_sense);
//			unsigned char data[100] = "SALAM";
//			int n = sprintf(data, "%d\n", threshold + base_sense);
//			HAL_UART_Transmit(&huart1, data, n, 1000);
		} else {

			double y = ten_mili_second / 62.0;
			if (seven_segment.digits[0] == 0)
				ten_mili_second = 0;
			else
				ten_mili_second = ((y) * 19) - 9;
		}

//		unsigned char data[100] = "SALAM";
//		int n = sprintf(data, "%d\n", ten_mili_second);
//		HAL_UART_Transmit(&huart1, data, n, 1000);
	}
	if (hadc->Instance == ADC3) {
		if (!flag) {
			base_sense = HAL_ADC_GetValue(&hadc3);
			TurnOnLed();
		} else {
			current_sense = HAL_ADC_GetValue(&hadc3);

//			unsigned char data[100] = "SALAM";
//			int n = sprintf(data, "current_sense: %d\n", current_sense);
//			HAL_UART_Transmit(&huart1, data, n, 1000);

			checkwarn();

		}

	}
}

/* USER CODE END 0 */

int main(void)
{

  /* MCU Configuration--------------------------------------------------------*/

  /* Reset of all peripherals, Initializes the Flash interface and the Systick. */
  HAL_Init();

  /* Configure the system clock */
  SystemClock_Config();

  /* Initialize all configured peripherals */
  MX_GPIO_Init();
  MX_I2C1_Init();
  MX_SPI1_Init();
  MX_USB_PCD_Init();
  MX_TIM1_Init();
  MX_TIM2_Init();
  MX_TIM3_Init();
  MX_TIM4_Init();
  MX_USART1_UART_Init();
  MX_ADC1_Init();
  MX_ADC3_Init();
  MX_RTC_Init();
  MX_USART2_UART_Init();
  /* USER CODE BEGIN 2 */
	HAL_TIM_Base_Start_IT(&htim2);
//	HAL_TIM_B
	HAL_TIM_PWM_Start(&htim1, TIM_CHANNEL_1);
	HAL_TIM_PWM_Start(&htim1, TIM_CHANNEL_2);
	HAL_TIM_PWM_Start(&htim1, TIM_CHANNEL_3);
	HAL_TIM_PWM_Start(&htim4, TIM_CHANNEL_1);
	HAL_ADC_Start_IT(&hadc1);
	HAL_ADC_Start_IT(&hadc3);
	uart_rx_enable_it();
	programInit();
	PWM_Start();
//
	myTime.Hours = 4;
	myTime.Minutes = 3;
	myTime.Seconds = 32;
	HAL_RTC_SetTime(&hrtc, &myTime, RTC_FORMAT_BIN);
	HAL_RTC_GetTime(&hrtc, &myTime, RTC_FORMAT_BIN);
	HAL_RTC_SetDate(&hrtc, &myDate, RTC_FORMAT_BIN);
	HAL_RTC_GetDate(&hrtc, &myDate, RTC_FORMAT_BIN);

  /* USER CODE END 2 */

  /* Infinite loop */
  /* USER CODE BEGIN WHILE */
	while (1) {
		programLoop();

		HAL_RTC_GetTime(&hrtc, &myTime, RTC_FORMAT_BIN);
		HAL_RTC_GetDate(&hrtc, &myDate, RTC_FORMAT_BIN);

		HAL_UART_Transmit(&huart2, "reza\n", 5, HAL_MAX_DELAY);

//		char stringToSend[] = "Hello from microcontroller!\r\n";
//		HAL_UART_Transmit(&huart1, stringToSend, strlen(stringToSend), HAL_MAX_DELAY);
    /* USER CODE END WHILE */

	}
}

void SystemClock_Config(void)
{
  RCC_OscInitTypeDef RCC_OscInitStruct = {0};
  RCC_ClkInitTypeDef RCC_ClkInitStruct = {0};
  RCC_PeriphCLKInitTypeDef PeriphClkInit = {0};

  /** Initializes the RCC Oscillators according to the specified parameters
  * in the RCC_OscInitTypeDef structure.
  */
  RCC_OscInitStruct.OscillatorType = RCC_OSCILLATORTYPE_HSI|RCC_OSCILLATORTYPE_LSI
                              |RCC_OSCILLATORTYPE_HSE;
  RCC_OscInitStruct.HSEState = RCC_HSE_BYPASS;
  RCC_OscInitStruct.HSEPredivValue = RCC_HSE_PREDIV_DIV1;
  RCC_OscInitStruct.HSIState = RCC_HSI_ON;
  RCC_OscInitStruct.HSICalibrationValue = RCC_HSICALIBRATION_DEFAULT;
  RCC_OscInitStruct.LSIState = RCC_LSI_ON;
  RCC_OscInitStruct.PLL.PLLState = RCC_PLL_ON;
  RCC_OscInitStruct.PLL.PLLSource = RCC_PLLSOURCE_HSE;
  RCC_OscInitStruct.PLL.PLLMUL = RCC_PLL_MUL6;
  if (HAL_RCC_OscConfig(&RCC_OscInitStruct) != HAL_OK)
  {
    Error_Handler();
  }

  /** Initializes the CPU, AHB and APB buses clocks
  */
  RCC_ClkInitStruct.ClockType = RCC_CLOCKTYPE_HCLK|RCC_CLOCKTYPE_SYSCLK
                              |RCC_CLOCKTYPE_PCLK1|RCC_CLOCKTYPE_PCLK2;
  RCC_ClkInitStruct.SYSCLKSource = RCC_SYSCLKSOURCE_PLLCLK;
  RCC_ClkInitStruct.AHBCLKDivider = RCC_SYSCLK_DIV1;
  RCC_ClkInitStruct.APB1CLKDivider = RCC_HCLK_DIV2;
  RCC_ClkInitStruct.APB2CLKDivider = RCC_HCLK_DIV1;

  if (HAL_RCC_ClockConfig(&RCC_ClkInitStruct, FLASH_LATENCY_1) != HAL_OK)
  {
    Error_Handler();
  }
  PeriphClkInit.PeriphClockSelection = RCC_PERIPHCLK_USB|RCC_PERIPHCLK_USART1
                              |RCC_PERIPHCLK_USART2|RCC_PERIPHCLK_I2C1
                              |RCC_PERIPHCLK_RTC|RCC_PERIPHCLK_TIM1
                              |RCC_PERIPHCLK_ADC12|RCC_PERIPHCLK_ADC34;
  PeriphClkInit.Usart1ClockSelection = RCC_USART1CLKSOURCE_PCLK2;
  PeriphClkInit.Usart2ClockSelection = RCC_USART2CLKSOURCE_PCLK1;
  PeriphClkInit.Adc12ClockSelection = RCC_ADC12PLLCLK_DIV1;
  PeriphClkInit.Adc34ClockSelection = RCC_ADC34PLLCLK_DIV1;
  PeriphClkInit.I2c1ClockSelection = RCC_I2C1CLKSOURCE_HSI;
  PeriphClkInit.RTCClockSelection = RCC_RTCCLKSOURCE_LSI;
  PeriphClkInit.USBClockSelection = RCC_USBCLKSOURCE_PLL;
  PeriphClkInit.Tim1ClockSelection = RCC_TIM1CLK_HCLK;
  if (HAL_RCCEx_PeriphCLKConfig(&PeriphClkInit) != HAL_OK)
  {
    Error_Handler();
  }
}

static void MX_ADC1_Init(void)
{

  ADC_MultiModeTypeDef multimode = {0};
  ADC_ChannelConfTypeDef sConfig = {0};

  /** Common config
  */
  hadc1.Instance = ADC1;
  hadc1.Init.ClockPrescaler = ADC_CLOCK_ASYNC_DIV1;
  hadc1.Init.Resolution = ADC_RESOLUTION_6B;
  hadc1.Init.ScanConvMode = ADC_SCAN_DISABLE;
  hadc1.Init.ContinuousConvMode = DISABLE;
  hadc1.Init.DiscontinuousConvMode = DISABLE;
  hadc1.Init.ExternalTrigConvEdge = ADC_EXTERNALTRIGCONVEDGE_NONE;
  hadc1.Init.ExternalTrigConv = ADC_SOFTWARE_START;
  hadc1.Init.DataAlign = ADC_DATAALIGN_RIGHT;
  hadc1.Init.NbrOfConversion = 1;
  hadc1.Init.DMAContinuousRequests = DISABLE;
  hadc1.Init.EOCSelection = ADC_EOC_SINGLE_CONV;
  hadc1.Init.LowPowerAutoWait = DISABLE;
  hadc1.Init.Overrun = ADC_OVR_DATA_OVERWRITTEN;
  if (HAL_ADC_Init(&hadc1) != HAL_OK)
  {
    Error_Handler();
  }

  /** Configure the ADC multi-mode
  */
  multimode.Mode = ADC_MODE_INDEPENDENT;
  if (HAL_ADCEx_MultiModeConfigChannel(&hadc1, &multimode) != HAL_OK)
  {
    Error_Handler();
  }

  /** Configure Regular Channel
  */
  sConfig.Channel = ADC_CHANNEL_2;
  sConfig.Rank = ADC_REGULAR_RANK_1;
  sConfig.SingleDiff = ADC_SINGLE_ENDED;
  sConfig.SamplingTime = ADC_SAMPLETIME_1CYCLE_5;
  sConfig.OffsetNumber = ADC_OFFSET_NONE;
  sConfig.Offset = 0;
  if (HAL_ADC_ConfigChannel(&hadc1, &sConfig) != HAL_OK)
  {
    Error_Handler();
  }

}

static void MX_ADC3_Init(void)
{

  ADC_MultiModeTypeDef multimode = {0};
  ADC_ChannelConfTypeDef sConfig = {0};

  /** Common config
  */
  hadc3.Instance = ADC3;
  hadc3.Init.ClockPrescaler = ADC_CLOCK_ASYNC_DIV1;
  hadc3.Init.Resolution = ADC_RESOLUTION_10B;
  hadc3.Init.ScanConvMode = ADC_SCAN_DISABLE;
  hadc3.Init.ContinuousConvMode = DISABLE;
  hadc3.Init.DiscontinuousConvMode = DISABLE;
  hadc3.Init.ExternalTrigConvEdge = ADC_EXTERNALTRIGCONVEDGE_NONE;
  hadc3.Init.ExternalTrigConv = ADC_SOFTWARE_START;
  hadc3.Init.DataAlign = ADC_DATAALIGN_RIGHT;
  hadc3.Init.NbrOfConversion = 1;
  hadc3.Init.DMAContinuousRequests = DISABLE;
  hadc3.Init.EOCSelection = ADC_EOC_SINGLE_CONV;
  hadc3.Init.LowPowerAutoWait = DISABLE;
  hadc3.Init.Overrun = ADC_OVR_DATA_OVERWRITTEN;
  if (HAL_ADC_Init(&hadc3) != HAL_OK)
  {
    Error_Handler();
  }

  /** Configure the ADC multi-mode
  */
  multimode.Mode = ADC_MODE_INDEPENDENT;
  if (HAL_ADCEx_MultiModeConfigChannel(&hadc3, &multimode) != HAL_OK)
  {
    Error_Handler();
  }

  /** Configure Regular Channel
  */
  sConfig.Channel = ADC_CHANNEL_7;
  sConfig.Rank = ADC_REGULAR_RANK_1;
  sConfig.SingleDiff = ADC_SINGLE_ENDED;
  sConfig.SamplingTime = ADC_SAMPLETIME_1CYCLE_5;
  sConfig.OffsetNumber = ADC_OFFSET_NONE;
  sConfig.Offset = 0;
  if (HAL_ADC_ConfigChannel(&hadc3, &sConfig) != HAL_OK)
  {
    Error_Handler();
  }

}

static void MX_I2C1_Init(void)
{

  hi2c1.Instance = I2C1;
  hi2c1.Init.Timing = 0x2000090E;
  hi2c1.Init.OwnAddress1 = 0;
  hi2c1.Init.AddressingMode = I2C_ADDRESSINGMODE_7BIT;
  hi2c1.Init.DualAddressMode = I2C_DUALADDRESS_DISABLE;
  hi2c1.Init.OwnAddress2 = 0;
  hi2c1.Init.OwnAddress2Masks = I2C_OA2_NOMASK;
  hi2c1.Init.GeneralCallMode = I2C_GENERALCALL_DISABLE;
  hi2c1.Init.NoStretchMode = I2C_NOSTRETCH_DISABLE;
  if (HAL_I2C_Init(&hi2c1) != HAL_OK)
  {
    Error_Handler();
  }

  /** Configure Analogue filter
  */
  if (HAL_I2CEx_ConfigAnalogFilter(&hi2c1, I2C_ANALOGFILTER_ENABLE) != HAL_OK)
  {
    Error_Handler();
  }

  /** Configure Digital filter
  */
  if (HAL_I2CEx_ConfigDigitalFilter(&hi2c1, 0) != HAL_OK)
  {
    Error_Handler();
  }

}

static void MX_RTC_Init(void)
{

  RTC_TimeTypeDef sTime = {0};
  RTC_DateTypeDef sDate = {0};

  /** Initialize RTC Only
  */
  hrtc.Instance = RTC;
  hrtc.Init.HourFormat = RTC_HOURFORMAT_24;
  hrtc.Init.AsynchPrediv = 39;
  hrtc.Init.SynchPrediv = 999;
  hrtc.Init.OutPut = RTC_OUTPUT_DISABLE;
  hrtc.Init.OutPutPolarity = RTC_OUTPUT_POLARITY_HIGH;
  hrtc.Init.OutPutType = RTC_OUTPUT_TYPE_OPENDRAIN;
  if (HAL_RTC_Init(&hrtc) != HAL_OK)
  {
    Error_Handler();
  }

  /** Initialize RTC and set the Time and Date
  */
  sTime.Hours = 0;
  sTime.Minutes = 0;
  sTime.Seconds = 0;
  sTime.DayLightSaving = RTC_DAYLIGHTSAVING_NONE;
  sTime.StoreOperation = RTC_STOREOPERATION_RESET;
  if (HAL_RTC_SetTime(&hrtc, &sTime, RTC_FORMAT_BIN) != HAL_OK)
  {
    Error_Handler();
  }
  sDate.WeekDay = RTC_WEEKDAY_MONDAY;
  sDate.Month = RTC_MONTH_JANUARY;
  sDate.Date = 1;
  sDate.Year = 0;

  if (HAL_RTC_SetDate(&hrtc, &sDate, RTC_FORMAT_BIN) != HAL_OK)
  {
    Error_Handler();
  }

}

static void MX_SPI1_Init(void)
{

  /* SPI1 parameter configuration*/
  hspi1.Instance = SPI1;
  hspi1.Init.Mode = SPI_MODE_MASTER;
  hspi1.Init.Direction = SPI_DIRECTION_2LINES;
  hspi1.Init.DataSize = SPI_DATASIZE_4BIT;
  hspi1.Init.CLKPolarity = SPI_POLARITY_LOW;
  hspi1.Init.CLKPhase = SPI_PHASE_1EDGE;
  hspi1.Init.NSS = SPI_NSS_SOFT;
  hspi1.Init.BaudRatePrescaler = SPI_BAUDRATEPRESCALER_4;
  hspi1.Init.FirstBit = SPI_FIRSTBIT_MSB;
  hspi1.Init.TIMode = SPI_TIMODE_DISABLE;
  hspi1.Init.CRCCalculation = SPI_CRCCALCULATION_DISABLE;
  hspi1.Init.CRCPolynomial = 7;
  hspi1.Init.CRCLength = SPI_CRC_LENGTH_DATASIZE;
  hspi1.Init.NSSPMode = SPI_NSS_PULSE_ENABLE;
  if (HAL_SPI_Init(&hspi1) != HAL_OK)
  {
    Error_Handler();
  }

}

static void MX_TIM1_Init(void)
{

  TIM_ClockConfigTypeDef sClockSourceConfig = {0};
  TIM_MasterConfigTypeDef sMasterConfig = {0};
  TIM_OC_InitTypeDef sConfigOC = {0};
  TIM_BreakDeadTimeConfigTypeDef sBreakDeadTimeConfig = {0};

  htim1.Instance = TIM1;
  htim1.Init.Prescaler = 47;
  htim1.Init.CounterMode = TIM_COUNTERMODE_UP;
  htim1.Init.Period = 999;
  htim1.Init.ClockDivision = TIM_CLOCKDIVISION_DIV1;
  htim1.Init.RepetitionCounter = 0;
  htim1.Init.AutoReloadPreload = TIM_AUTORELOAD_PRELOAD_DISABLE;
  if (HAL_TIM_Base_Init(&htim1) != HAL_OK)
  {
    Error_Handler();
  }
  sClockSourceConfig.ClockSource = TIM_CLOCKSOURCE_INTERNAL;
  if (HAL_TIM_ConfigClockSource(&htim1, &sClockSourceConfig) != HAL_OK)
  {
    Error_Handler();
  }
  if (HAL_TIM_PWM_Init(&htim1) != HAL_OK)
  {
    Error_Handler();
  }
  sMasterConfig.MasterOutputTrigger = TIM_TRGO_RESET;
  sMasterConfig.MasterOutputTrigger2 = TIM_TRGO2_RESET;
  sMasterConfig.MasterSlaveMode = TIM_MASTERSLAVEMODE_DISABLE;
  if (HAL_TIMEx_MasterConfigSynchronization(&htim1, &sMasterConfig) != HAL_OK)
  {
    Error_Handler();
  }
  sConfigOC.OCMode = TIM_OCMODE_PWM1;
  sConfigOC.Pulse = 0;
  sConfigOC.OCPolarity = TIM_OCPOLARITY_HIGH;
  sConfigOC.OCNPolarity = TIM_OCNPOLARITY_HIGH;
  sConfigOC.OCFastMode = TIM_OCFAST_DISABLE;
  sConfigOC.OCIdleState = TIM_OCIDLESTATE_RESET;
  sConfigOC.OCNIdleState = TIM_OCNIDLESTATE_RESET;
  if (HAL_TIM_PWM_ConfigChannel(&htim1, &sConfigOC, TIM_CHANNEL_1) != HAL_OK)
  {
    Error_Handler();
  }
  if (HAL_TIM_PWM_ConfigChannel(&htim1, &sConfigOC, TIM_CHANNEL_2) != HAL_OK)
  {
    Error_Handler();
  }
  if (HAL_TIM_PWM_ConfigChannel(&htim1, &sConfigOC, TIM_CHANNEL_3) != HAL_OK)
  {
    Error_Handler();
  }
  sBreakDeadTimeConfig.OffStateRunMode = TIM_OSSR_DISABLE;
  sBreakDeadTimeConfig.OffStateIDLEMode = TIM_OSSI_DISABLE;
  sBreakDeadTimeConfig.LockLevel = TIM_LOCKLEVEL_OFF;
  sBreakDeadTimeConfig.DeadTime = 0;
  sBreakDeadTimeConfig.BreakState = TIM_BREAK_DISABLE;
  sBreakDeadTimeConfig.BreakPolarity = TIM_BREAKPOLARITY_HIGH;
  sBreakDeadTimeConfig.BreakFilter = 0;
  sBreakDeadTimeConfig.Break2State = TIM_BREAK2_DISABLE;
  sBreakDeadTimeConfig.Break2Polarity = TIM_BREAK2POLARITY_HIGH;
  sBreakDeadTimeConfig.Break2Filter = 0;
  sBreakDeadTimeConfig.AutomaticOutput = TIM_AUTOMATICOUTPUT_DISABLE;
  if (HAL_TIMEx_ConfigBreakDeadTime(&htim1, &sBreakDeadTimeConfig) != HAL_OK)
  {
    Error_Handler();
  }
  HAL_TIM_MspPostInit(&htim1);

}

static void MX_TIM2_Init(void)
{

  TIM_ClockConfigTypeDef sClockSourceConfig = {0};
  TIM_MasterConfigTypeDef sMasterConfig = {0};

  htim2.Instance = TIM2;
  htim2.Init.Prescaler = 2400-1;
  htim2.Init.CounterMode = TIM_COUNTERMODE_UP;
  htim2.Init.Period = 10000-1;
  htim2.Init.ClockDivision = TIM_CLOCKDIVISION_DIV1;
  htim2.Init.AutoReloadPreload = TIM_AUTORELOAD_PRELOAD_DISABLE;
  if (HAL_TIM_Base_Init(&htim2) != HAL_OK)
  {
    Error_Handler();
  }
  sClockSourceConfig.ClockSource = TIM_CLOCKSOURCE_INTERNAL;
  if (HAL_TIM_ConfigClockSource(&htim2, &sClockSourceConfig) != HAL_OK)
  {
    Error_Handler();
  }
  sMasterConfig.MasterOutputTrigger = TIM_TRGO_RESET;
  sMasterConfig.MasterSlaveMode = TIM_MASTERSLAVEMODE_DISABLE;
  if (HAL_TIMEx_MasterConfigSynchronization(&htim2, &sMasterConfig) != HAL_OK)
  {
    Error_Handler();
  }

}

static void MX_TIM3_Init(void)
{

  TIM_ClockConfigTypeDef sClockSourceConfig = {0};
  TIM_MasterConfigTypeDef sMasterConfig = {0};
  TIM_OC_InitTypeDef sConfigOC = {0};

  htim3.Instance = TIM3;
  htim3.Init.Prescaler = 0;
  htim3.Init.CounterMode = TIM_COUNTERMODE_UP;
  htim3.Init.Period = 65535;
  htim3.Init.ClockDivision = TIM_CLOCKDIVISION_DIV1;
  htim3.Init.AutoReloadPreload = TIM_AUTORELOAD_PRELOAD_DISABLE;
  if (HAL_TIM_Base_Init(&htim3) != HAL_OK)
  {
    Error_Handler();
  }
  sClockSourceConfig.ClockSource = TIM_CLOCKSOURCE_INTERNAL;
  if (HAL_TIM_ConfigClockSource(&htim3, &sClockSourceConfig) != HAL_OK)
  {
    Error_Handler();
  }
  if (HAL_TIM_PWM_Init(&htim3) != HAL_OK)
  {
    Error_Handler();
  }
  sMasterConfig.MasterOutputTrigger = TIM_TRGO_RESET;
  sMasterConfig.MasterSlaveMode = TIM_MASTERSLAVEMODE_DISABLE;
  if (HAL_TIMEx_MasterConfigSynchronization(&htim3, &sMasterConfig) != HAL_OK)
  {
    Error_Handler();
  }
  sConfigOC.OCMode = TIM_OCMODE_PWM1;
  sConfigOC.Pulse = 0;
  sConfigOC.OCPolarity = TIM_OCPOLARITY_HIGH;
  sConfigOC.OCFastMode = TIM_OCFAST_DISABLE;
  if (HAL_TIM_PWM_ConfigChannel(&htim3, &sConfigOC, TIM_CHANNEL_2) != HAL_OK)
  {
    Error_Handler();
  }
  HAL_TIM_MspPostInit(&htim3);

}

static void MX_TIM4_Init(void)
{

  TIM_ClockConfigTypeDef sClockSourceConfig = {0};
  TIM_MasterConfigTypeDef sMasterConfig = {0};
  TIM_OC_InitTypeDef sConfigOC = {0};

  htim4.Instance = TIM4;
  htim4.Init.Prescaler = 47;
  htim4.Init.CounterMode = TIM_COUNTERMODE_UP;
  htim4.Init.Period = 999;
  htim4.Init.ClockDivision = TIM_CLOCKDIVISION_DIV1;
  htim4.Init.AutoReloadPreload = TIM_AUTORELOAD_PRELOAD_DISABLE;
  if (HAL_TIM_Base_Init(&htim4) != HAL_OK)
  {
    Error_Handler();
  }
  sClockSourceConfig.ClockSource = TIM_CLOCKSOURCE_INTERNAL;
  if (HAL_TIM_ConfigClockSource(&htim4, &sClockSourceConfig) != HAL_OK)
  {
    Error_Handler();
  }
  if (HAL_TIM_PWM_Init(&htim4) != HAL_OK)
  {
    Error_Handler();
  }
  sMasterConfig.MasterOutputTrigger = TIM_TRGO_RESET;
  sMasterConfig.MasterSlaveMode = TIM_MASTERSLAVEMODE_DISABLE;
  if (HAL_TIMEx_MasterConfigSynchronization(&htim4, &sMasterConfig) != HAL_OK)
  {
    Error_Handler();
  }
  sConfigOC.OCMode = TIM_OCMODE_PWM1;
  sConfigOC.Pulse = 0;
  sConfigOC.OCPolarity = TIM_OCPOLARITY_HIGH;
  sConfigOC.OCFastMode = TIM_OCFAST_DISABLE;
  if (HAL_TIM_PWM_ConfigChannel(&htim4, &sConfigOC, TIM_CHANNEL_1) != HAL_OK)
  {
    Error_Handler();
  }
  HAL_TIM_MspPostInit(&htim4);

}

static void MX_USART1_UART_Init(void)
{

  huart1.Instance = USART1;
  huart1.Init.BaudRate = 38400;
  huart1.Init.WordLength = UART_WORDLENGTH_8B;
  huart1.Init.StopBits = UART_STOPBITS_1;
  huart1.Init.Parity = UART_PARITY_NONE;
  huart1.Init.Mode = UART_MODE_TX_RX;
  huart1.Init.HwFlowCtl = UART_HWCONTROL_NONE;
  huart1.Init.OverSampling = UART_OVERSAMPLING_16;
  huart1.Init.OneBitSampling = UART_ONE_BIT_SAMPLE_DISABLE;
  huart1.AdvancedInit.AdvFeatureInit = UART_ADVFEATURE_NO_INIT;
  if (HAL_UART_Init(&huart1) != HAL_OK)
  {
    Error_Handler();
  }

}

static void MX_USART2_UART_Init(void)
{

  huart2.Instance = USART2;
  huart2.Init.BaudRate = 38400;
  huart2.Init.WordLength = UART_WORDLENGTH_8B;
  huart2.Init.StopBits = UART_STOPBITS_1;
  huart2.Init.Parity = UART_PARITY_NONE;
  huart2.Init.Mode = UART_MODE_TX_RX;
  huart2.Init.HwFlowCtl = UART_HWCONTROL_NONE;
  huart2.Init.OverSampling = UART_OVERSAMPLING_16;
  huart2.Init.OneBitSampling = UART_ONE_BIT_SAMPLE_DISABLE;
  huart2.AdvancedInit.AdvFeatureInit = UART_ADVFEATURE_NO_INIT;
  if (HAL_UART_Init(&huart2) != HAL_OK)
  {
    Error_Handler();
  }

}

static void MX_USB_PCD_Init(void)
{

  hpcd_USB_FS.Instance = USB;
  hpcd_USB_FS.Init.dev_endpoints = 8;
  hpcd_USB_FS.Init.speed = PCD_SPEED_FULL;
  hpcd_USB_FS.Init.phy_itface = PCD_PHY_EMBEDDED;
  hpcd_USB_FS.Init.low_power_enable = DISABLE;
  hpcd_USB_FS.Init.battery_charging_enable = DISABLE;
  if (HAL_PCD_Init(&hpcd_USB_FS) != HAL_OK)
  {
    Error_Handler();
  }

}

static void MX_GPIO_Init(void)
{
  GPIO_InitTypeDef GPIO_InitStruct = {0};

  /* GPIO Ports Clock Enable */
  __HAL_RCC_GPIOE_CLK_ENABLE();
  __HAL_RCC_GPIOC_CLK_ENABLE();
  __HAL_RCC_GPIOF_CLK_ENABLE();
  __HAL_RCC_GPIOA_CLK_ENABLE();
  __HAL_RCC_GPIOD_CLK_ENABLE();
  __HAL_RCC_GPIOB_CLK_ENABLE();

  /*Configure GPIO pin Output Level */
  HAL_GPIO_WritePin(GPIOE, CS_I2C_SPI_Pin|LD4_Pin|LD3_Pin|LD5_Pin
                          |LD7_Pin|LD9_Pin|LD10_Pin|LD8_Pin
                          |LD6_Pin, GPIO_PIN_RESET);

  /*Configure GPIO pin Output Level */
  HAL_GPIO_WritePin(GPIOC, GPIO_PIN_0|GPIO_PIN_1|GPIO_PIN_2|GPIO_PIN_3
                          |GPIO_PIN_6|GPIO_PIN_7|GPIO_PIN_8|GPIO_PIN_9, GPIO_PIN_RESET);

  /*Configure GPIO pins : DRDY_Pin MEMS_INT3_Pin MEMS_INT4_Pin MEMS_INT1_Pin
                           MEMS_INT2_Pin */
  GPIO_InitStruct.Pin = DRDY_Pin|MEMS_INT3_Pin|MEMS_INT4_Pin|MEMS_INT1_Pin
                          |MEMS_INT2_Pin;
  GPIO_InitStruct.Mode = GPIO_MODE_EVT_RISING;
  GPIO_InitStruct.Pull = GPIO_NOPULL;
  HAL_GPIO_Init(GPIOE, &GPIO_InitStruct);

  /*Configure GPIO pins : CS_I2C_SPI_Pin LD4_Pin LD3_Pin LD5_Pin
                           LD7_Pin LD9_Pin LD10_Pin LD8_Pin
                           LD6_Pin */
  GPIO_InitStruct.Pin = CS_I2C_SPI_Pin|LD4_Pin|LD3_Pin|LD5_Pin
                          |LD7_Pin|LD9_Pin|LD10_Pin|LD8_Pin
                          |LD6_Pin;
  GPIO_InitStruct.Mode = GPIO_MODE_OUTPUT_PP;
  GPIO_InitStruct.Pull = GPIO_NOPULL;
  GPIO_InitStruct.Speed = GPIO_SPEED_FREQ_LOW;
  HAL_GPIO_Init(GPIOE, &GPIO_InitStruct);

  /*Configure GPIO pins : PC0 PC1 PC2 PC3
                           PC6 PC7 PC8 PC9 */
  GPIO_InitStruct.Pin = GPIO_PIN_0|GPIO_PIN_1|GPIO_PIN_2|GPIO_PIN_3
                          |GPIO_PIN_6|GPIO_PIN_7|GPIO_PIN_8|GPIO_PIN_9;
  GPIO_InitStruct.Mode = GPIO_MODE_OUTPUT_PP;
  GPIO_InitStruct.Pull = GPIO_NOPULL;
  GPIO_InitStruct.Speed = GPIO_SPEED_FREQ_LOW;
  HAL_GPIO_Init(GPIOC, &GPIO_InitStruct);

  /*Configure GPIO pin : B1_Pin */
  GPIO_InitStruct.Pin = B1_Pin;
  GPIO_InitStruct.Mode = GPIO_MODE_INPUT;
  GPIO_InitStruct.Pull = GPIO_NOPULL;
  HAL_GPIO_Init(B1_GPIO_Port, &GPIO_InitStruct);

  /*Configure GPIO pins : PD13 PD14 PD15 */
  GPIO_InitStruct.Pin = GPIO_PIN_13|GPIO_PIN_14|GPIO_PIN_15;
  GPIO_InitStruct.Mode = GPIO_MODE_IT_FALLING;
  GPIO_InitStruct.Pull = GPIO_PULLUP;
  HAL_GPIO_Init(GPIOD, &GPIO_InitStruct);

  /* EXTI interrupt init*/
  HAL_NVIC_SetPriority(EXTI15_10_IRQn, 0, 0);
  HAL_NVIC_EnableIRQ(EXTI15_10_IRQn);

}

void Error_Handler(void)
{
	__disable_irq();
	while (1) {
	}
}
